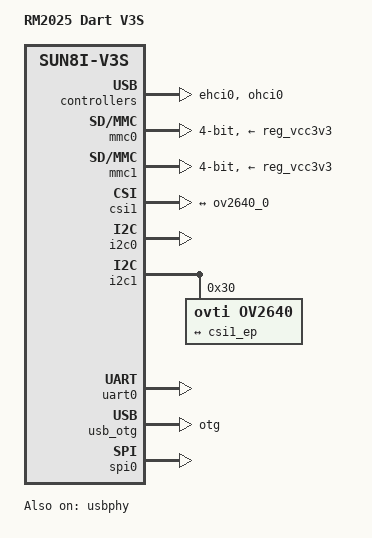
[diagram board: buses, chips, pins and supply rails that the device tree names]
/*
 * Copyright (C) 2025 Baoqi Zhong <zzhongas@connect.ust.hk>
 *
 * This file is dual-licensed: you can use it either under the terms
 * of the GPL or the X11 license, at your option. Note that this dual
 * licensing only applies to this file, and not this project as a
 * whole.
 *
 *  a) This file is free software; you can redistribute it and/or
 *     modify it under the terms of the GNU General Public License as
 *     published by the Free Software Foundation; either version 2 of the
 *     License, or (at your option) any later version.
 *
 *     This file is distributed in the hope that it will be useful,
 *     but WITHOUT ANY WARRANTY; without even the implied warranty of
 *     MERCHANTABILITY or FITNESS FOR A PARTICULAR PURPOSE.  See the
 *     GNU General Public License for more details.
 *
 * Or, alternatively,
 *
 *  b) Permission is hereby granted, free of charge, to any person
 *     obtaining a copy of this software and associated documentation
 *     files (the "Software"), to deal in the Software without
 *     restriction, including without limitation the rights to use,
 *     copy, modify, merge, publish, distribute, sublicense, and/or
 *     sell copies of the Software, and to permit persons to whom the
 *     Software is furnished to do so, subject to the following
 *     conditions:
 *
 *     The above copyright notice and this permission notice shall be
 *     included in all copies or substantial portions of the Software.
 *
 *     THE SOFTWARE IS PROVIDED "AS IS", WITHOUT WARRANTY OF ANY KIND,
 *     EXPRESS OR IMPLIED, INCLUDING BUT NOT LIMITED TO THE WARRANTIES
 *     OF MERCHANTABILITY, FITNESS FOR A PARTICULAR PURPOSE AND
 *     NONINFRINGEMENT. IN NO EVENT SHALL THE AUTHORS OR COPYRIGHT
 *     HOLDERS BE LIABLE FOR ANY CLAIM, DAMAGES OR OTHER LIABILITY,
 *     WHETHER IN AN ACTION OF CONTRACT, TORT OR OTHERWISE, ARISING
 *     FROM, OUT OF OR IN CONNECTION WITH THE SOFTWARE OR THE USE OR
 *     OTHER DEALINGS IN THE SOFTWARE.
 */
/dts-v1/;
#include "sun8i-v3s.dtsi"
#include "sunxi-common-regulators.dtsi"

/ {
	model = "RM2025 Dart V3S";
	compatible = "licheepi,licheepi-zero", "allwinner,sun8i-v3s";

	aliases {
		serial0 = &uart0;
	};

	chosen {
		stdout-path = "serial0:115200n8";
	};

	leds {
		compatible = "gpio-leds";
		status = "disabled";
	};
};

&ehci0 {
	status = "okay";
};

&mmc0 {
	broken-cd;
	bus-width = <4>;
	vmmc-supply = <&reg_vcc3v3>;
	status = "okay";
};

&mmc1 {
	broken-cd;
	bus-width = <4>;
	vmmc-supply = <&reg_vcc3v3>;
	status = "okay";
};


&csi1 {
	status = "okay";
	pinctrl-names = "default";
	pinctrl-0 = <&csi1_clk &csi1_8bit>;
	port {
		csi1_ep: endpoint {
			remote-endpoint = <&ov2640_0>;
			hsync-active = <0>;
			vsync-active = <0>;
			bus-width = <10>;
	    	pclk-sample = <1>;
		};
	// 	csi1_ep: endpoint {
	
	// 			remote-endpoint = <&ov7725_0>;
	// 			hsync-active = <0>;
	// 			vsync-active = <1>;
	// 			bus-width = <8>;
	// 		    pclk-sample = <1>;
				
	// 			};
	 };

};

&i2c0 {
	pinctrl-0 = <&i2c0_pins>;
	pinctrl-names = "default";
	status = "okay";
};

&i2c1 {
	pinctrl-0 = <&i2c1_pins>;
	pinctrl-names = "default";
	status = "okay";

	// ov7725: camera@21 {
	// 	compatible = "ovti,ov7725";
	// 	reg = <0x21>;
	// 	pinctrl-names = "default";
	// 	pinctrl-0 = <&csi1_mclk>;
	// 	clocks = <&ccu CLK_CSI1_MCLK>;
	// 	clock-names = "xclk";
	// 	assigned-clocks = <&ccu CLK_CSI1_MCLK>;
	// 	assigned-clock-rates = <24000000>;
	// 	port {
	// 		ov7725_0: endpoint {
	// 			remote-endpoint = <&csi1_ep>;
	// 			//bus-width = <10>;
	// 		};
	// 	};
	// };
	ov2640: camera@30 {
		compatible = "ovti,ov2640";
		reg = <0x30>;
		pinctrl-names = "default";
		pinctrl-0 = <&csi1_mclk>;
		clocks = <&ccu CLK_CSI1_MCLK>;
		clock-names = "xvclk";
		assigned-clocks = <&ccu CLK_CSI1_MCLK>;
		assigned-clock-rates = <24000000>;
		
		port {
			ov2640_0: endpoint {
				remote-endpoint = <&csi1_ep>;
				bus-width = <10>;
			};
		};
	};
};

&ohci0 {
	status = "okay";
};

&uart0 {
	pinctrl-0 = <&uart0_pb_pins>;
	pinctrl-names = "default";
	status = "okay";
};

&usb_otg {
	dr_mode = "otg";
	status = "okay";
};

&usbphy {
	usb0_id_det-gpios = <&pio 5 6 GPIO_ACTIVE_HIGH>;
	status = "okay";
};

&spi0 {
	status ="okay";
	
};
